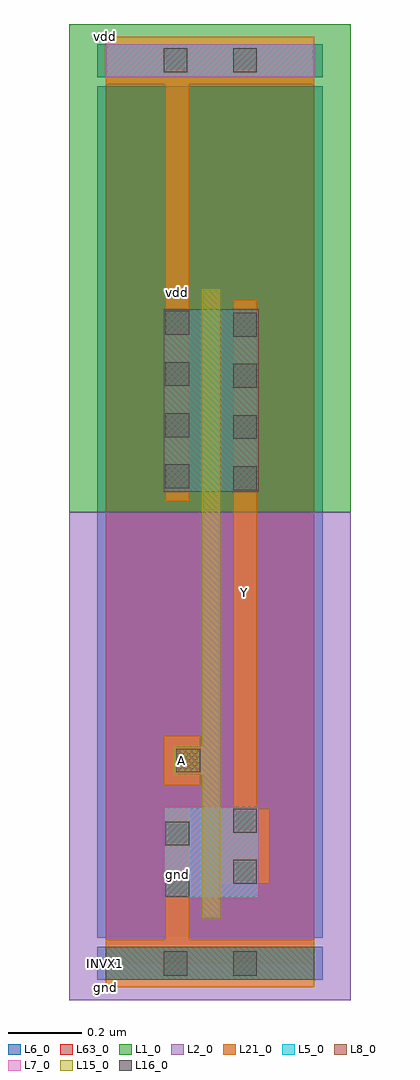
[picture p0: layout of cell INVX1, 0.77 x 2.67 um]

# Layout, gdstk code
import gdstk
lib = gdstk.Library(unit=1e-6, precision=1e-09)
def R(c, l, rs):  # rectangles x0, y0, x1, y1
    for r in rs: c.add(gdstk.rectangle(r[:2], r[2:], *l))
def A(c, l, x, y, w, h, nx, ny, dx, dy):  # array of equal rectangles
    R(c, l, [(x+i*dx, y+j*dy, x+i*dx+w, y+j*dy+h) for i in range(nx) for j in range(ny)])
def P(c, l, *ps):  # polygons
    for p in ps: c.add(gdstk.Polygon(p, *l))
L1_0 = (1, 0)
L2_0 = (2, 0)
L5_0 = (5, 0)
L6_0 = (6, 0)
L7_0 = (7, 0)
L8_0 = (8, 0)
L15_0 = (15, 0)
L16_0 = (16, 0)
L21_0 = (21, 0)
L63_0 = (63, 0)

invx1 = lib.new_cell('INVX1')
R(invx1, L1_0, [(-0.1,1.235,0.67,2.57)])
R(invx1, L2_0, [(-0.1,-0.1,0.67,1.235)])
R(invx1, L5_0, [(0,-0.045,0.57,0.045), (0.158,0.178,0.263,0.428), (0.263,0.178,0.313,0.428), (0.313,0.178,0.418,0.428), (0.158,1.29,0.263,1.79), (0.263,1.29,0.313,1.79), (0.313,1.29,0.418,1.79), (0,2.425,0.57,2.515)])
R(invx1, L6_0, [(-0.023,-0.045,0.593,0.045), (-0.023,-0.045,0.593,0.045), (-0.023,0.07,0.593,1.235), (-0.023,1.235,0.593,2.4), (-0.023,2.425,0.593,2.515), (-0.023,2.425,0.593,2.515)])
R(invx1, L7_0, [(0.158,0.178,0.263,0.428), (0.263,0.178,0.313,0.428), (0.313,0.178,0.418,0.428), (0,2.425,0.57,2.515)])
R(invx1, L8_0, [(0,-0.045,0.57,0.045), (0.158,1.29,0.263,1.79), (0.263,1.29,0.313,1.79), (0.313,1.29,0.418,1.79)])
R(invx1, L15_0, [(0.263,0.123,0.313,0.178), (0.263,0.178,0.313,0.428), (0.263,1.29,0.313,1.79), (0.263,1.79,0.313,1.845)])
P(invx1, L15_0, [(0.263,0.518),(0.188,0.518),(0.188,0.593),(0.263,0.593),(0.263,1.29),(0.313,1.29),(0.313,0.428),(0.263,0.428)])
A(invx1, L16_0, 0.348, 1.295, 0.065, 0.065, 1, 4, 0, 0.14)
A(invx1, L16_0, 0.163, 1.3, 0.065, 0.065, 1, 4, 0, 0.14)
R(invx1, L16_0, [(0.158,-0.033,0.223,0.033), (0.348,-0.033,0.413,0.033), (0.163,0.183,0.228,0.248), (0.348,0.218,0.413,0.283), (0.163,0.323,0.228,0.388), (0.348,0.358,0.413,0.423), (0.193,0.523,0.258,0.588), (0.158,2.438,0.223,2.503), (0.348,2.438,0.413,2.503)])
R(invx1, L21_0, [(0.158,0.488,0.258,0.623)])
P(invx1, L21_0, [(0,2.405),(0,2.535),(0.57,2.535),(0.57,2.405),(0.228,2.405),(0.228,1.265),(0.163,1.265),(0.163,2.405)],
  [(0,-0.065),(0,0.065),(0.163,0.065),(0.163,0.423),(0.228,0.423),(0.228,0.065),(0.57,0.065),(0.57,-0.065)],
  [(0.348,0.423),(0.348,1.815),(0.413,1.815),(0.413,0.423),(0.448,0.423),(0.448,0.218),(0.313,0.218),(0.313,0.423)])
R(invx1, L63_0, [(0,0,0.57,2.47)])
invx1.add(gdstk.Label('vdd', (0.195,1.835), layer=21, texttype=1))
invx1.add(gdstk.Label('gnd', (0.195,0.244), layer=21, texttype=1))
invx1.add(gdstk.Label('A', (0.208,0.555), layer=21, texttype=1))
invx1.add(gdstk.Label('Y', (0.38,1.016), layer=21, texttype=1))
invx1.add(gdstk.Label('vdd', (0,2.535), layer=21, texttype=2))
invx1.add(gdstk.Label('gnd', (0,-0.065), layer=21, texttype=2))
invx1.add(gdstk.Label('INVX1', (0,0), layer=63, texttype=1))

lib.write_gds('INVX1.gds')
